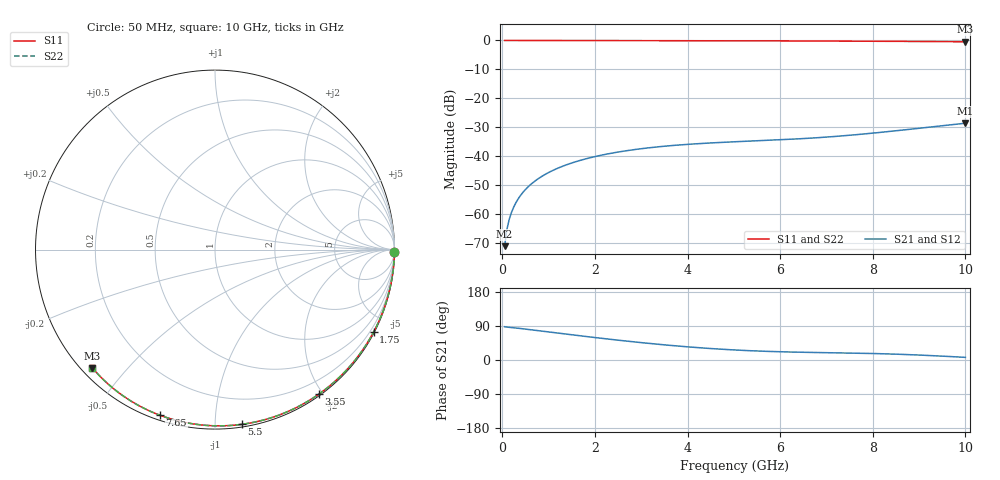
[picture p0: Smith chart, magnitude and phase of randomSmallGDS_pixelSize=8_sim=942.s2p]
! freq	dB(S11)	phase(S11)	dB(S12)	phase(S12)
!  dB(S21)	phase(S21)	dB(S22)	phase(S22)
!S-par simulation data
#  GHz  S  DB  R 50
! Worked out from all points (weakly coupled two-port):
!   200 points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, 50 MHz to 10 GHz, reference 50 ohm
!   highest |S21| = -28.65 dB at 10 GHz (marker M1); lowest = -71.2 dB at 50 MHz (marker M2)
!   lowest |S11| = -0.5 dB at 10 GHz (marker M3), VSWR 38.46, Z = 1.51 - j20.2 ohm
!   |S11| at or under -10 dB: nowhere
!   |S22| runs from -0.5 to 0.0 dB; largest |S21 - S12| = 0
!   S11 on the Smith chart (normalised r, x): 50 MHz: open; 1.75 GHz: 0.04, -4.09; 3.55 GHz: 0.02, -1.95; 5.5 GHz: 0.02, -1.16; 7.65 GHz: 0.02, -0.72; 10 GHz: 0.03, -0.40
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0.05  -0.00 -0.8  -71.21 87.8  -71.21 87.8  -0.00 -0.8
0.1  -0.00 -1.6  -65.35 86.8  -65.35 86.8  -0.00 -1.6
0.15  -0.00 -2.4  -61.91 86.2  -61.91 86.2  -0.00 -2.4
0.2  -0.00 -3.2  -59.46 85.7  -59.46 85.7  -0.00 -3.2
0.25  -0.00 -4.0  -57.55 85.1  -57.55 85.1  -0.00 -4.0
0.35  -0.00 -5.6  -54.66 83.7  -54.66 83.7  -0.00 -5.6
0.5  -0.01 -8.0  -51.60 81.6  -51.60 81.6  -0.01 -8.0
0.7  -0.01 -11.1  -48.73 78.6  -48.73 78.6  -0.01 -11.1
1  -0.02 -15.8  -45.72 74.0  -45.72 74.0  -0.02 -15.8
1.35  -0.03 -21.3  -43.25 68.8  -43.25 68.8  -0.03 -21.3
1.75  -0.04 -27.5  -41.21 62.9  -41.21 62.9  -0.04 -27.5
2.5  -0.05 -38.9  -38.63 52.3  -38.63 52.3  -0.05 -38.9
3.4  -0.07 -52.2  -36.76 41.1  -36.76 41.1  -0.07 -52.2
3.55  -0.07 -54.4  -36.54 39.4  -36.54 39.4  -0.07 -54.4
4.3  -0.09 -65.0  -35.66 31.9  -35.66 31.9  -0.09 -65.0
5.05  -0.12 -75.3  -35.05 26.3  -35.05 26.3  -0.12 -75.3
5.5  -0.13 -81.3  -34.74 23.8  -34.74 23.8  -0.13 -81.3
6.7  -0.19 -96.8  -33.77 19.9  -33.77 19.9  -0.19 -96.7
7.65  -0.24 -108.4  -32.61 18.1  -32.61 18.1  -0.24 -108.4
8.35  -0.29 -116.8  -31.52 16.0  -31.52 16.0  -0.29 -116.8
9.2  -0.37 -126.8  -30.05 12.0  -30.05 12.0  -0.37 -126.8
10  -0.45 -136.0  -28.65 6.9  -28.65 6.9  -0.45 -136.0
